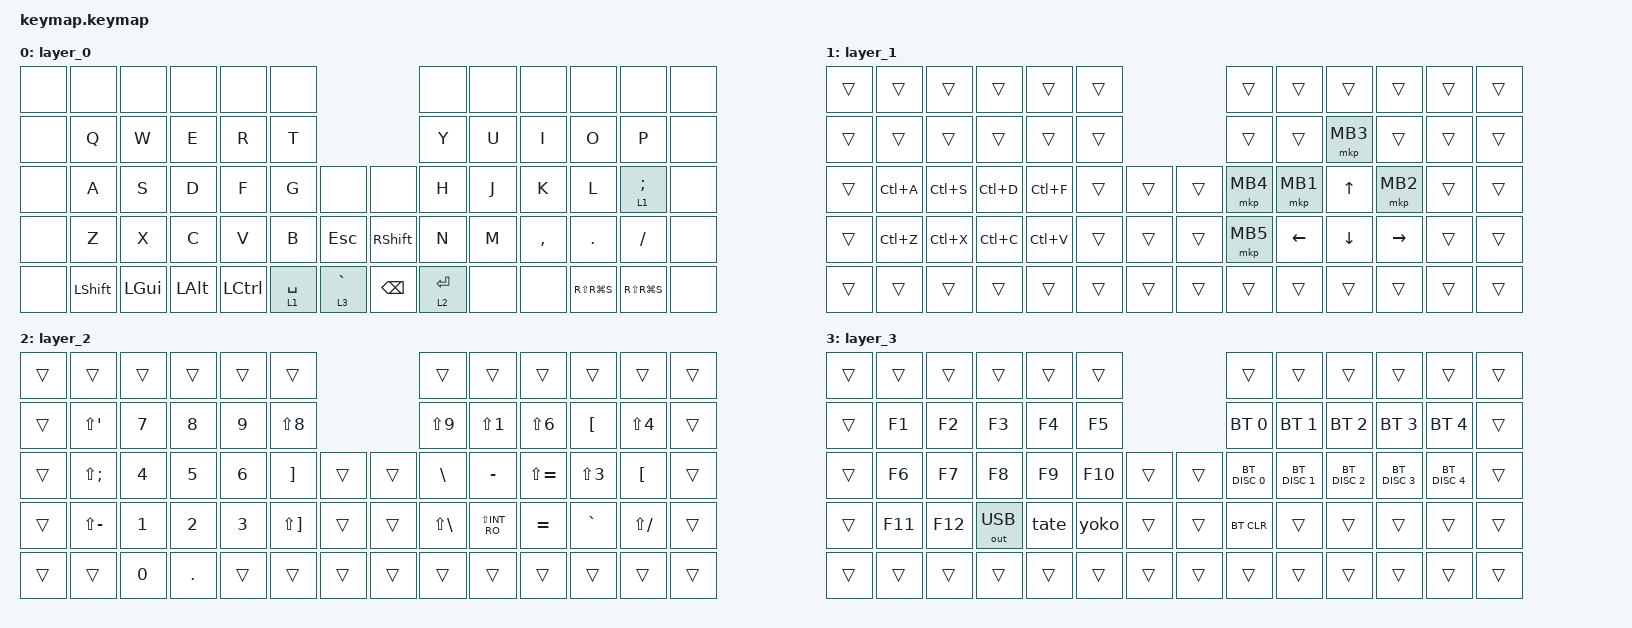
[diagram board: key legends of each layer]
#include <behaviors.dtsi>
#include <dt-bindings/zmk/bt.h>
#include <dt-bindings/zmk/keys.h>
#include <dt-bindings/zmk/outputs.h>
#include <dt-bindings/zmk/pointing.h>

/ {
    combos {
        compatible = "zmk,combos";

        TABcombos {
            bindings = <&kp TAB>;
            key-positions = <25 26>;
        };

        deletecmb {
            bindings = <&kp DEL>;
            key-positions = <21 22>;
        };

        ESCcmb {
            bindings = <&kp ESC>;
            key-positions = <13 14>;
        };
    };

    macros {
        pic: pic {
            compatible = "zmk,behavior-macro";
            #binding-cells = <0>;
            bindings = <&kp S>;
            label = "PIC";
        };

        tate: tate {
            compatible = "zmk,behavior-macro";
            #binding-cells = <0>;
            bindings = <&kp LA(H) &kp LA(O) &kp LA(I)>;
            label = "TATE";
        };

        yoko: yoko {
            compatible = "zmk,behavior-macro";
            #binding-cells = <0>;
            bindings = <&kp LA(H) &kp LA(O) &kp LA(A)>;
            label = "YOKO";
        };
    };

    keymap {
        compatible = "zmk,keymap";

        layer_0 {
            bindings = <
&none  &none           &none     &none     &none      &none                                      &none        &none  &none      &none          &none            &none
&none  &kp Q           &kp W     &kp E     &kp R      &kp T                                      &kp Y        &kp U  &kp I      &kp O          &kp P            &none
&none  &kp A           &kp S     &kp D     &kp F      &kp G        &none        &none            &kp H        &kp J  &kp K      &kp L          &lt 1 SEMICOLON  &none
&none  &kp Z           &kp X     &kp C     &kp V      &kp B        &kp ESC      &kp RIGHT_SHIFT  &kp N        &kp M  &kp COMMA  &kp DOT        &kp SLASH        &none
&none  &kp LEFT_SHIFT  &kp LGUI  &kp LALT  &kp LCTRL  &lt 1 SPACE  &lt 3 GRAVE  &kp BACKSPACE    &lt 2 ENTER  &none  &none      &kp RS(RG(S))  &kp RS(RG(S))    &none
            >;
        };

        layer_1 {
            bindings = <
&trans  &trans     &trans     &trans     &trans     &trans                  &trans    &trans    &trans          &trans     &trans  &trans
&trans  &trans     &trans     &trans     &trans     &trans                  &trans    &trans    &mkp MB3        &trans     &trans  &trans
&trans  &kp LC(A)  &kp LC(S)  &kp LC(D)  &kp LC(F)  &trans  &trans  &trans  &mkp MB4  &mkp MB1  &kp UP_ARROW    &mkp MB2   &trans  &trans
&trans  &kp LC(Z)  &kp LC(X)  &kp LC(C)  &kp LC(V)  &trans  &trans  &trans  &mkp MB5  &kp LEFT  &kp DOWN_ARROW  &kp RIGHT  &trans  &trans
&trans  &trans     &trans     &trans     &trans     &trans  &trans  &trans  &trans    &trans    &trans          &trans     &trans  &trans
            >;
        };

        layer_2 {
            bindings = <
&trans  &trans             &trans        &trans        &trans        &trans                                 &trans             &trans            &trans            &trans            &trans            &trans
&trans  &kp LS(SQT)        &kp N7        &kp N8        &kp N9        &kp LS(NUMBER_8)                       &kp LS(N9)         &kp LS(NUMBER_1)  &kp LS(NUMBER_6)  &kp LBKT          &kp LS(NUMBER_4)  &trans
&trans  &kp LS(SEMICOLON)  &kp NUMBER_4  &kp N5        &kp NUMBER_6  &kp RIGHT_BRACKET      &trans  &trans  &kp BSLH           &kp MINUS         &kp LS(EQUAL)     &kp LS(NUMBER_3)  &kp LBKT          &trans
&trans  &kp LS(MINUS)      &kp NUMBER_1  &kp NUMBER_2  &kp NUMBER_3  &kp LS(RIGHT_BRACKET)  &trans  &trans  &kp LS(BACKSLASH)  &kp LS(INT_RO)    &kp EQUAL         &kp GRAVE         &kp LS(SLASH)     &trans
&trans  &trans             &kp N0        &kp DOT       &trans        &trans                 &trans  &trans  &trans             &trans            &trans            &trans            &trans            &trans
            >;
        };

        layer_3 {
            bindings = <
&trans  &trans   &trans   &trans        &trans  &trans                   &trans         &trans         &trans         &trans         &trans         &trans
&trans  &kp F1   &kp F2   &kp F3        &kp F4  &kp F5                   &bt BT_SEL 0   &bt BT_SEL 1   &bt BT_SEL 2   &bt BT_SEL 3   &bt BT_SEL 4   &trans
&trans  &kp F6   &kp F7   &kp F8        &kp F9  &kp F10  &trans  &trans  &bt BT_DISC 0  &bt BT_DISC 1  &bt BT_DISC 2  &bt BT_DISC 3  &bt BT_DISC 4  &trans
&trans  &kp F11  &kp F12  &out OUT_USB  &tate   &yoko    &trans  &trans  &bt BT_CLR     &trans         &trans         &trans         &trans         &trans
&trans  &trans   &trans   &trans        &trans  &trans   &trans  &trans  &trans         &trans         &trans         &trans         &trans         &trans
            >;
        };
    };
};
